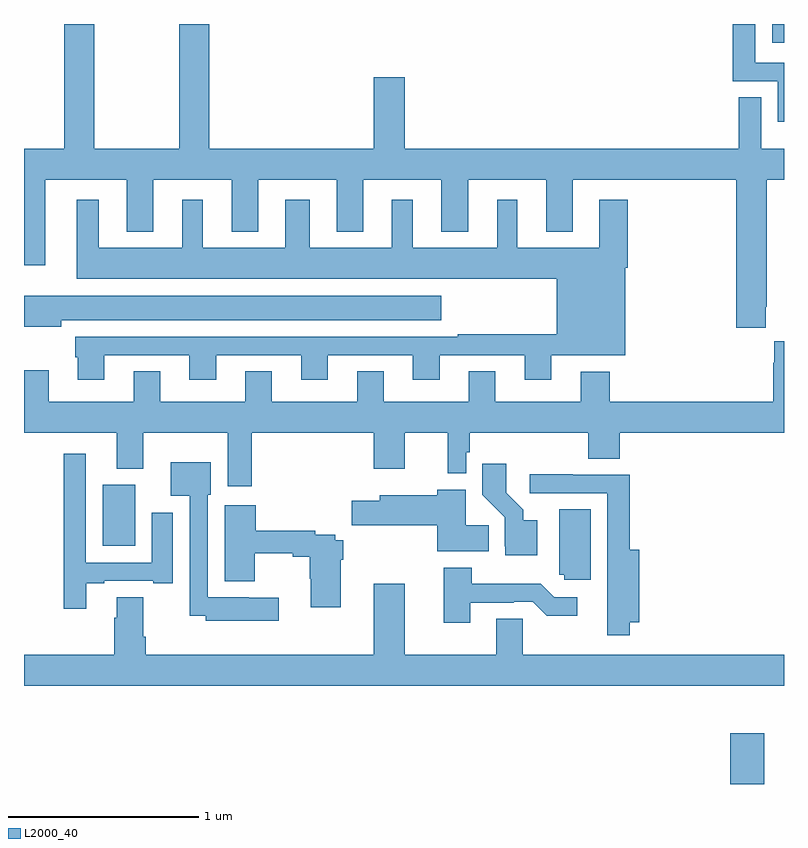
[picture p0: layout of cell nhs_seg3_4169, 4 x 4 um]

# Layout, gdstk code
import gdstk
lib = gdstk.Library(unit=1e-6, precision=1e-09)
def R(c, l, rs):  # rectangles x0, y0, x1, y1
    for r in rs: c.add(gdstk.rectangle(r[:2], r[2:], *l))
def P(c, l, *ps):  # polygons
    for p in ps: c.add(gdstk.Polygon(p, *l))
L2000_40 = (2000, 40)

nhs_seg3_4169 = lib.new_cell('nhs_seg3_4169')
R(nhs_seg3_4169, L2000_40, [(334.718,700.4,334.896,700.666), (331.415,701.654,331.585,701.974), (334.937,704.301,335,704.4)])
P(nhs_seg3_4169, L2000_40, [(331.976,704.4),(331.816,704.4),(331.816,703.744),(331.371,703.744),(331.371,704.4),(331.211,704.4),(331.211,703.744),(331,703.744),(331,703.131),(331.111,703.131),(331.111,703.58),(331.541,703.58),(331.541,703.307),(331.681,703.307),(331.681,703.58),(332.093,703.58),(332.093,703.307),(332.233,703.307),(332.233,703.58),(332.645,703.58),(332.645,703.307),(332.785,703.307),(332.785,703.58),(333.197,703.58),(333.197,703.307),(333.337,703.307),(333.337,703.58),(333.749,703.58),(333.749,703.307),(333.889,703.307),(333.889,703.58),(334.748,703.58),(334.748,702.801),(334.903,702.801),(334.903,702.913),(334.908,702.913),(334.908,703.58),(335,703.58),(335,703.744),(334.879,703.744),(334.879,704.015),(334.761,704.015),(334.761,703.744),(333.004,703.744),(333.004,704.119),(332.84,704.119),(332.84,703.744),(331.976,703.744)],
  [(335,704.196),(334.849,704.196),(334.849,704.4),(334.731,704.4),(334.731,704.1),(334.968,704.1),(334.968,703.886),(335,703.886)],
  [(331.423,702.657),(331.871,702.657),(331.871,702.528),(332.011,702.528),(332.011,702.657),(332.459,702.657),(332.459,702.528),(332.599,702.528),(332.599,702.657),(333.047,702.657),(333.047,702.528),(333.187,702.528),(333.187,702.657),(333.635,702.657),(333.635,702.528),(333.775,702.528),(333.775,702.656),(334.165,702.656),(334.165,703.118),(334.178,703.118),(334.178,703.474),(334.028,703.474),(334.028,703.222),(333.595,703.222),(333.595,703.474),(333.491,703.474),(333.491,703.222),(333.046,703.222),(333.046,703.474),(332.936,703.474),(332.936,703.222),(332.503,703.222),(332.503,703.474),(332.375,703.474),(332.375,703.222),(331.942,703.222),(331.942,703.474),(331.832,703.474),(331.832,703.222),(331.393,703.222),(331.393,703.474),(331.277,703.474),(331.277,703.058),(333.803,703.058),(333.803,702.766),(333.283,702.766),(333.283,702.753),(331.271,702.753),(331.271,702.645),(331.283,702.645),(331.283,702.528),(331.423,702.528)],
  [(331.195,702.842),(333.196,702.842),(333.196,702.97),(331,702.97),(331,702.806),(331.195,702.806)],
  [(332.198,702.248),(332.84,702.248),(332.84,702.06),(333.004,702.06),(333.004,702.248),(333.229,702.248),(333.229,702.035),(333.327,702.035),(333.327,702.147),(333.347,702.147),(333.347,702.248),(333.971,702.248),(333.971,702.112),(334.136,702.112),(334.136,702.248),(335,702.248),(335,702.73),(334.949,702.73),(334.949,702.617),(334.943,702.617),(334.943,702.412),(334.082,702.412),(334.082,702.571),(333.929,702.571),(333.929,702.412),(333.481,702.412),(333.481,702.572),(333.341,702.572),(333.341,702.412),(332.893,702.412),(332.893,702.572),(332.753,702.572),(332.753,702.412),(332.305,702.412),(332.305,702.572),(332.165,702.572),(332.165,702.412),(331.717,702.412),(331.717,702.572),(331.577,702.572),(331.577,702.412),(331.129,702.412),(331.129,702.577),(331,702.577),(331,702.248),(331.487,702.248),(331.487,702.059),(331.627,702.059),(331.627,702.248),(332.072,702.248),(332.072,701.967),(332.198,701.967)],
  [(331.327,701.457),(331.423,701.457),(331.423,701.469),(331.679,701.469),(331.679,701.457),(331.783,701.457),(331.783,701.827),(331.673,701.827),(331.673,701.565),(331.326,701.565),(331.326,702.139),(331.21,702.139),(331.21,701.322),(331.327,701.322)],
  [(332.341,701.38),(332.184,701.38),(332.184,701.382),(331.968,701.382),(331.968,701.922),(331.984,701.922),(331.984,702.094),(331.772,702.094),(331.772,701.918),(331.872,701.918),(331.872,701.285),(331.956,701.285),(331.956,701.258),(332.341,701.258)],
  [(333.7,701.788),(333.628,701.788),(333.628,701.843),(333.538,701.933),(333.538,702.085),(333.412,702.085),(333.412,701.922),(333.531,701.803),(333.531,701.652),(333.533,701.652),(333.533,701.603),(333.7,701.603)],
  [(334.187,701.252),(334.238,701.252),(334.238,701.632),(334.187,701.632),(334.187,702.027),(333.887,702.027),(333.887,702.03),(333.663,702.03),(333.663,701.931),(334.071,701.931),(334.071,701.184),(334.187,701.184)],
  [(333.446,701.762),(333.325,701.762),(333.325,701.95),(333.176,701.95),(333.176,701.92),(332.873,701.92),(332.873,701.89),(332.724,701.89),(332.724,701.761),(333.176,701.761),(333.176,701.624),(333.446,701.624)],
  [(332.668,701.579),(332.681,701.579),(332.681,701.683),(332.638,701.683),(332.638,701.712),(332.534,701.712),(332.534,701.732),(332.219,701.732),(332.219,701.866),(332.057,701.866),(332.057,701.468),(332.214,701.468),(332.214,701.614),(332.414,701.614),(332.414,701.596),(332.503,701.596),(332.503,701.481),(332.51,701.481),(332.51,701.331),(332.668,701.331)],
  [(333.982,701.846),(333.818,701.846),(333.818,701.502),(333.843,701.502),(333.843,701.475),(333.982,701.475)],
  [(333.349,701.355),(333.578,701.355),(333.578,701.358),(333.678,701.358),(333.751,701.285),(333.913,701.285),(333.913,701.382),(333.792,701.382),(333.719,701.455),(333.357,701.455),(333.357,701.539),(333.209,701.539),(333.209,701.25),(333.349,701.25)],
  [(335,701.08),(333.624,701.08),(333.624,701.27),(333.485,701.27),(333.485,701.08),(333.004,701.08),(333.004,701.455),(332.84,701.455),(332.84,701.08),(331.64,701.08),(331.64,701.176),(331.627,701.176),(331.627,701.384),(331.487,701.384),(331.487,701.276),(331.475,701.276),(331.475,701.08),(331,701.08),(331,700.916),(335,700.916)])

lib.write_gds('nhs_seg3_4169.gds')
